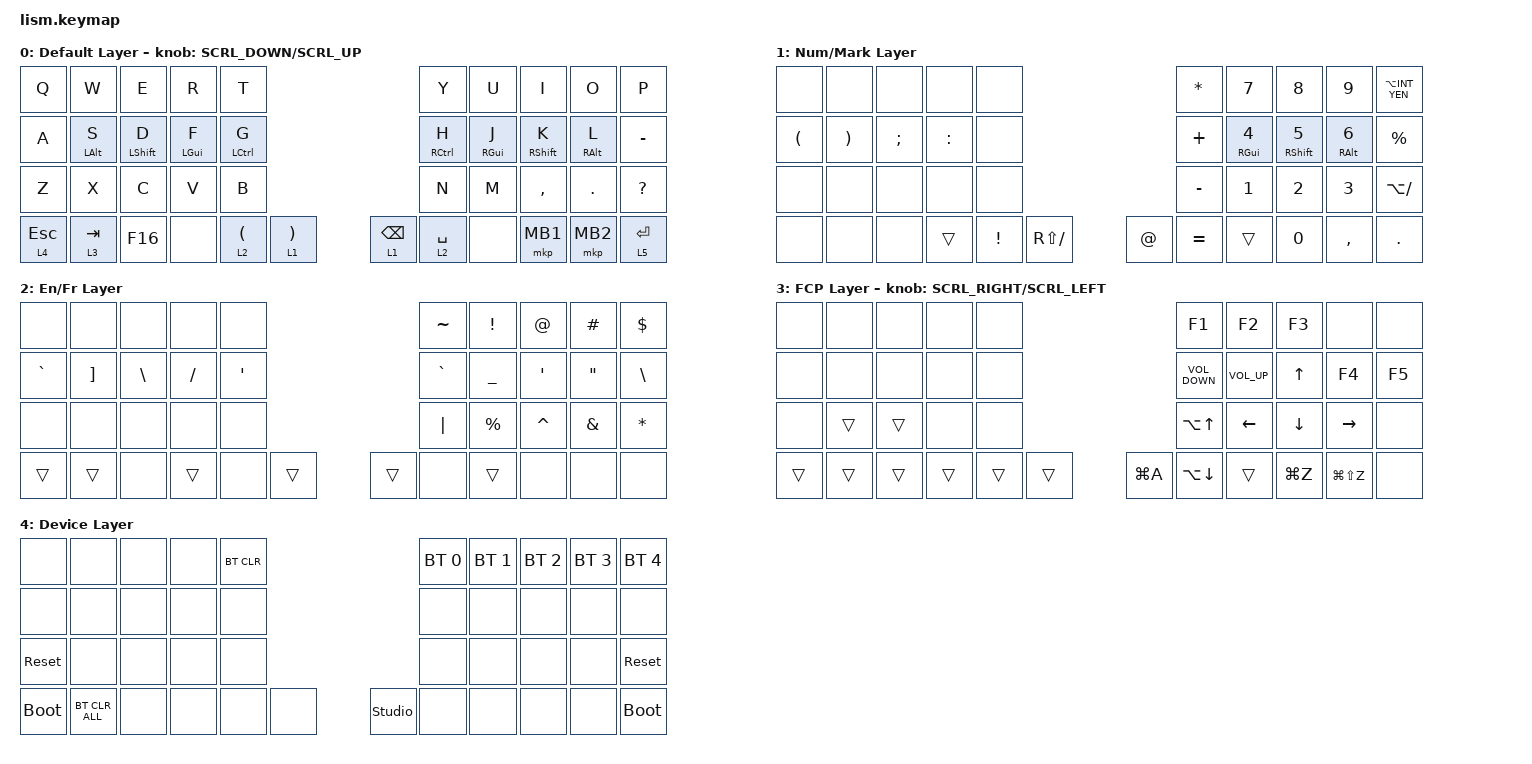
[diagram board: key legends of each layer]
#define ZMK_POINTING_DEFAULT_SCRL_VAL 200

#include <dt-bindings/zmk/mouse.h>
#include <behaviors.dtsi>
#include <dt-bindings/zmk/bt.h>
#include <dt-bindings/zmk/keys.h>
#include <dt-bindings/zmk/pointing.h>

&mt {
    tapping-term-ms = <300>;
    flavor = "balanced";
};

&lt { quick-tap-ms = <300>; };

/ {
    macros {
        emoji: emoji_macro {
            compatible = "zmk,behavior-macro";
            label = "EMOJI";
            #binding-cells = <0>;
            bindings =
                <&macro_press>,
                <&kp CAPSLOCK>,
                <&macro_tap>,
                <&kp E>,
                <&macro_release>,
                <&kp CAPSLOCK>;
        };
    };

    behaviors {
        encoder_msc: sensor_rotate_msc {
            compatible = "zmk,behavior-sensor-rotate-var";
            #sensor-binding-cells = <2>;
            bindings = <&msc>, <&msc>;

            tap-ms = <20>;
        };

        encoder_kp: sensor_rotate_kp {
            compatible = "zmk,behavior-sensor-rotate-var";
            #sensor-binding-cells = <2>;
            bindings = <&kp>, <&kp>;
        };
    };

    keymap {
        compatible = "zmk,keymap";

        default_layer {
            display-name = "Default Layer";
            bindings = <
&kp Q         &kp W       &kp E         &kp R       &kp T                                                               &kp Y        &kp U       &kp I         &kp O       &kp P
&kp A         &mt LALT S  &mt LSHIFT D  &mt LGUI F  &mt LCTRL G                                                         &mt RCTRL H  &mt RGUI J  &mt RSHIFT K  &mt RALT L  &kp MINUS
&kp Z         &kp X       &kp C         &kp V       &kp B                                                               &kp N        &kp M       &kp COMMA     &kp DOT     &kp QUESTION
&lt 4 ESCAPE  &lt 3 TAB   &kp F16       &none       &lt 2 LEFT_PARENTHESIS  &lt 1 RIGHT_PARENTHESIS    &lt 1 BACKSPACE  &lt 2 SPACE  &none       &mkp MB1      &mkp MB2    &lt 5 ENTER
            >;

            sensor-bindings = <&encoder_msc SCRL_DOWN SCRL_UP>;
        };

        layer_1 {
            display-name = "Num/Mark Layer";
            bindings = <
&none                 &none                  &none     &none      &none                                     &kp ASTERISK  &kp NUMBER_7            &kp NUMBER_8              &kp NUMBER_9            &kp LA(INT_YEN)
&kp LEFT_PARENTHESIS  &kp RIGHT_PARENTHESIS  &kp SEMI  &kp COLON  &none                                     &kp PLUS      &mt RIGHT_GUI NUMBER_4  &mt RIGHT_SHIFT NUMBER_5  &mt RIGHT_ALT NUMBER_6  &kp PERCENT
&none                 &none                  &none     &none      &none                                     &kp MINUS     &kp NUMBER_1            &kp NUMBER_2              &kp NUMBER_3            &kp LA(SLASH)
&none                 &none                  &none     &trans     &kp EXCLAMATION  &kp RS(SLASH)    &kp AT  &kp EQUAL     &trans                  &kp NUMBER_0              &kp COMMA               &kp PERIOD
            >;
        };

        layer_2 {
            display-name = "En/Fr Layer";
            bindings = <
&none      &none              &none          &none      &none                             &kp TILDE  &kp EXCLAMATION  &kp AT_SIGN       &kp HASH           &kp DOLLAR
&kp GRAVE  &kp RIGHT_BRACKET  &kp BACKSLASH  &kp SLASH  &kp APOSTROPHE                    &kp GRAVE  &kp UNDER        &kp SINGLE_QUOTE  &kp DOUBLE_QUOTES  &kp BACKSLASH
&none      &none              &none          &none      &none                             &kp PIPE   &kp PERCENT      &kp CARET         &kp AMPERSAND      &kp ASTERISK
&trans     &trans             &none          &trans     &none           &trans    &trans  &none      &trans           &none             &none              &none
            >;
        };

        layer_3 {
            display-name = "FCP Layer";
            bindings = <
&none   &none   &none   &none   &none                        &kp F1             &kp F2           &kp F3     &none          &none
&none   &none   &none   &none   &none                        &kp C_VOLUME_DOWN  &kp C_VOLUME_UP  &kp UP     &kp F4         &kp F5
&none   &trans  &trans  &none   &none                        &kp LA(UP)         &kp LEFT         &kp DOWN   &kp RIGHT      &none
&trans  &trans  &trans  &trans  &trans  &trans    &kp LG(A)  &kp LA(DOWN)       &trans           &kp LG(Z)  &kp LG(LS(Z))  &none
            >;

            sensor-bindings = <&encoder_msc SCRL_RIGHT SCRL_LEFT>;
        };

        layer_4 {
            status = "reserved";
            display-name = "Brank Layer";
            bindings = <
&trans  &trans  &trans  &trans  &trans                    &trans  &trans  &trans  &trans  &trans
&trans  &trans  &trans  &trans  &trans                    &trans  &trans  &trans  &trans  &trans
&trans  &trans  &trans  &trans  &trans                    &trans  &trans  &trans  &trans  &trans
&trans  &trans  &trans  &trans  &trans  &trans    &trans  &trans  &trans  &trans  &trans  &trans
            >;
        };

        layer_5 {
            display-name = "Device Layer";
            bindings = <
&none        &none           &none  &none  &bt BT_CLR                           &bt BT_SEL 0  &bt BT_SEL 1  &bt BT_SEL 2  &bt BT_SEL 3  &bt BT_SEL 4
&none        &none           &none  &none  &none                                &none         &none         &none         &none         &none
&sys_reset   &none           &none  &none  &none                                &none         &none         &none         &none         &sys_reset
&bootloader  &bt BT_CLR_ALL  &none  &none  &none       &none    &studio_unlock  &none         &none         &none         &none         &bootloader
            >;
        };
    };
};
